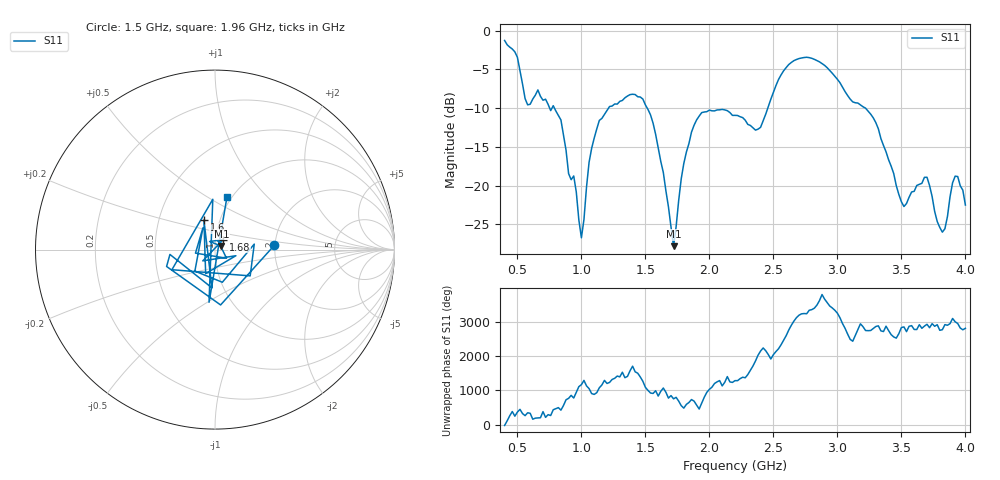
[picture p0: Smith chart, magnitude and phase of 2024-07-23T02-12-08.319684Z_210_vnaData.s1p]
!Created with skrf (http://scikit-rf.org).
# Hz S RI R 50.0
!freq ReS11 ImS11
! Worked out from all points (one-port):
!   181 points, 400 MHz to 4 GHz, reference 50 ohm
!   lowest |S11| = -27.8 dB at 1.72 GHz (marker M1), VSWR 1.08, Z = 53.6 + j2.11 ohm
!   |S11| at or under -10 dB: 789 MHz to 1.212 GHz (423.1 MHz wide, 42.3 % of centre); 1.514 GHz to 2.456 GHz (942.1 MHz wide, 47.5 % of centre); 3.218 GHz to end of sweep (the widest 3 of 4)
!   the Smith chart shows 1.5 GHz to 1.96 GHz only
!   S11 on the Smith chart (normalised r, x): 1.5 GHz: 1.98, +0.10; 1.6 GHz: 0.84, +0.28; 1.68 GHz: 1.09, +0.12; 1.96 GHz: 0.95, +0.61
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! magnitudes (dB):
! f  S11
! 400 MHz  -1.3
! 500 MHz  -3.4
! 580 MHz  -9.6
! 660 MHz  -7.7
! 860 MHz  -13.5
! 940 MHz  -18.8
! 1 GHz  -26.8
! 1.06 GHz  -17.0
! 1.12 GHz  -12.7
! 1.3 GHz  -9.1
! 1.5 GHz  -9.6
! 1.6 GHz  -15.1
! 1.68 GHz  -22.7
! 1.72 GHz  -27.8
! 1.76 GHz  -21.9
! 1.86 GHz  -13.1
! 1.96 GHz  -10.5
! 2.2 GHz  -10.9
! 2.4 GHz  -12.5
! 2.66 GHz  -3.9
! 3.1 GHz  -8.8
! 3.28 GHz  -11.3
! 3.5 GHz  -22.1
! 3.56 GHz  -21.5
! 3.7 GHz  -18.9
! 3.82 GHz  -26.0
! 3.92 GHz  -18.8
! 4 GHz  -22.5
